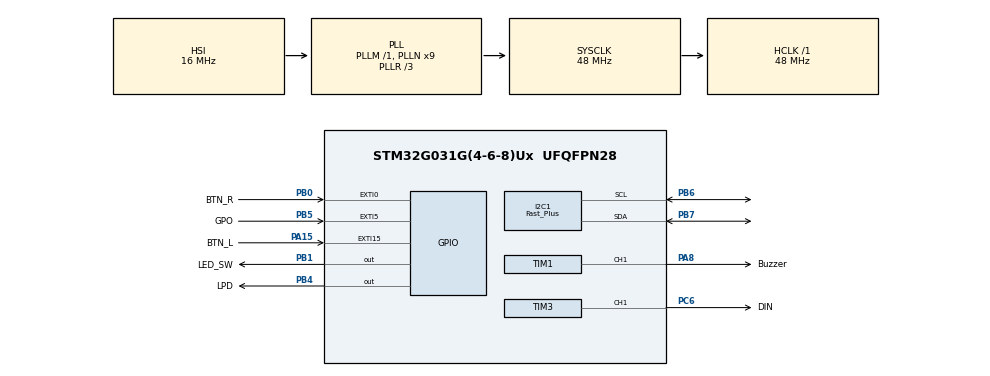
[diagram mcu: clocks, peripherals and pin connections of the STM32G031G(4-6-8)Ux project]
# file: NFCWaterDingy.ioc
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Dma.Request0=TIM3_CH1
Dma.TIM3_CH1.0.Direction=DMA_MEMORY_TO_PERIPH
Dma.TIM3_CH1.0.EventEnable=DISABLE
Dma.TIM3_CH1.0.Instance=DMA1_Channel1
Dma.TIM3_CH1.0.MemDataAlignment=DMA_MDATAALIGN_HALFWORD
Dma.TIM3_CH1.0.MemInc=DMA_MINC_ENABLE
Dma.TIM3_CH1.0.Mode=DMA_NORMAL
Dma.TIM3_CH1.0.PeriphDataAlignment=DMA_PDATAALIGN_HALFWORD
Dma.TIM3_CH1.0.PeriphInc=DMA_PINC_DISABLE
Dma.TIM3_CH1.0.Polarity=HAL_DMAMUX_REQ_GEN_RISING
Dma.TIM3_CH1.0.Priority=DMA_PRIORITY_LOW
Dma.TIM3_CH1.0.RequestNumber=1
Dma.TIM3_CH1.0.SignalID=NONE
Dma.TIM3_CH1.0.SyncEnable=DISABLE
Dma.TIM3_CH1.0.SyncPolarity=HAL_DMAMUX_SYNC_NO_EVENT
Dma.TIM3_CH1.0.SyncRequestNumber=1
Dma.TIM3_CH1.0.SyncSignalID=NONE
I2C1.I2C_Speed_Mode=I2C_Fast_Plus
I2C1.Timing=0x00700814
Mcu.Family=STM32G0
Mcu.Name=STM32G031G(4-6-8)Ux
Mcu.Package=UFQFPN28
NVIC.DMA1_Channel1_IRQn=true\:0\:0\:false\:false\:true\:false\:true\:false
NVIC.EXTI0_1_IRQn=true\:0\:0\:true\:true\:true\:1\:true\:true\:true
NVIC.EXTI4_15_IRQn=true\:0\:0\:true\:true\:true\:2\:true\:true\:true
NVIC.RTC_TAMP_IRQn=true\:0\:0\:true\:true\:true\:3\:true\:true\:true
NVIC.TIM1_BRK_UP_TRG_COM_IRQn=true\:0\:0\:false\:false\:true\:true\:true\:true
NVIC.TIM1_CC_IRQn=true\:0\:0\:false\:false\:true\:true\:true\:true
NVIC.TIM3_IRQn=true\:0\:0\:false\:false\:true\:true\:true\:true
PA13.Mode=Serial_Wire
PA13.Signal=SYS_SWDIO
PA14-BOOT0.Mode=Serial_Wire
PA14-BOOT0.Signal=SYS_SWCLK
PA15.GPIO_Label=BTN_L
PA15.GPIO_ModeDefaultEXTI=GPIO_MODE_IT_RISING
PA15.GPIO_PuPd=GPIO_NOPULL
PA15.Signal=GPXTI15
PA8.GPIO_Label=Buzzer
PA8.Signal=S_TIM1_CH1
PB0.GPIO_Label=BTN_R
PB0.GPIO_ModeDefaultEXTI=GPIO_MODE_IT_RISING
PB0.GPIO_PuPd=GPIO_NOPULL
PB0.Signal=GPXTI0
PB1.GPIO_Label=LED_SW
PB1.GPIO_PuPd=GPIO_PULLUP
PB1.GPIO_Speed=GPIO_SPEED_FREQ_HIGH
PB1.Signal=GPIO_Output
PB4.GPIO_Label=LPD
PB4.GPIO_PuPd=GPIO_NOPULL
PB4.Signal=GPIO_Output
PB5.GPIO_Label=GPO
PB5.GPIO_ModeDefaultEXTI=GPIO_MODE_IT_FALLING
PB5.GPIO_PuPd=GPIO_PULLUP
PB5.Signal=GPXTI5
PB6.GPIO_Pu=GPIO_NOPULL
PB6.Mode=I2C
PB6.Signal=I2C1_SCL
PB7.GPIO_Pu=GPIO_NOPULL
PB7.Mode=I2C
PB7.Signal=I2C1_SDA
PC14-OSC32_IN\ (PC14).Mode=LSE-External-Oscillator
PC14-OSC32_IN\ (PC14).Signal=RCC_OSC32_IN
PC15-OSC32_OUT\ (PC15).Mode=LSE-External-Oscillator
PC15-OSC32_OUT\ (PC15).Signal=RCC_OSC32_OUT
PC6.GPIO_Label=DIN
PC6.Signal=S_TIM3_CH1
ProjectManager.HeapSize=0x200
ProjectManager.StackSize=0x400
ProjectManager.TargetToolchain=STM32CubeIDE
RCC.ADCFreq_Value=48000000
RCC.AHBFreq_Value=48000000
RCC.CodegenConfigPeriph=true
RCC.CortexFreq_Value=48000000
RCC.DATA_CACHE_ENABLE=1
RCC.EXTERNAL_CLOCK_VALUE=12288000
RCC.FLatency=FLASH_LATENCY_1
RCC.HCLKFreq_Value=48000000
RCC.HSE_Timout=1000
RCC.HSE_VALUE=8000000
RCC.HSI_VALUE=16000000
RCC.INSTRUCTION_CACHE_ENABLE=1
RCC.LSE_Timout=5000
RCC.PLLN=9
RCC.PLLQ=RCC_PLLQ_DIV5
RCC.PLLR=RCC_PLLR_DIV3
RCC.PREFETCH_ENABLE=1
RCC.RTCClockSelection=RCC_RTCCLKSOURCE_LSE
RCC.SYSCLKFreq_VALUE=48000000
RCC.SYSCLKSource=RCC_SYSCLKSOURCE_PLLCLK
RCC.VCOOutputFreq_Value=144000000
RCC.VDD_VALUE=2.9
RTC.Alarm-Alarm\ A=RTC_ALARM_A
RTC.AlarmMaskDateWeekDay-Alarm\ A=RTC_ALARMMASK_DATEWEEKDAY
RTC.AlarmMaskDateWeekDay_B-Alarm\ B=RTC_ALARMMASK_DATEWEEKDAY
RTC.Alarm_B-Alarm\ B=RTC_ALARM_B
RTC.Format=RTC_FORMAT_BIN
RTC.Hours_A-Alarm\ A=10
RTC.Hours_B-Alarm\ B=22
RTC.Seconds_A-Alarm\ A=1
RTC.Seconds_B-Alarm\ B=1
RTC.WakeUpClock-WakeUp=RTC_WAKEUPCLOCK_CK_SPRE_16BITS
SH.S_TIM1_CH1.0=TIM1_CH1,PWM Generation1 CH1
SH.S_TIM3_CH1.0=TIM3_CH1,PWM Generation1 CH1
TIM1.Channel-PWM\ Generation1\ CH1=TIM_CHANNEL_1
TIM1.Period=23999
TIM1.Prescaler=0
TIM3.Channel-PWM\ Generation1\ CH1=TIM_CHANNEL_1
TIM3.Period=59
VP_RTC_VS_RTC_Activate.Mode=RTC_Enabled
VP_RTC_VS_RTC_Alarm_A_Intern.Mode=Alarm A
VP_RTC_VS_RTC_Alarm_B_Intern.Mode=Alarm B
VP_RTC_VS_RTC_Calendar.Mode=RTC_Calendar
VP_RTC_VS_RTC_WakeUp_intern.Mode=WakeUp
VP_TIM1_VS_ClockSourceINT.Mode=Internal
VP_TIM3_VS_ClockSourceINT.Mode=Internal
board=custom

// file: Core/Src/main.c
/* USER CODE BEGIN Header */
/**
 ******************************************************************************
 * @file           : main.c
 * @brief          : Main program body
 ******************************************************************************
 * @attention
 *
 * Copyright (c) 2025 STMicroelectronics.
 * All rights reserved.
 *
 * This software is licensed under terms that can be found in the LICENSE file
 * in the root directory of this software component.
 * If no LICENSE file comes with this software, it is provided AS-IS.
 *
 ******************************************************************************
 */
/* USER CODE END Header */
#include "main.h"
#include "dma.h"
#include "i2c.h"
#include "rtc.h"
#include "tim.h"
#include "gpio.h"

/* USER CODE BEGIN Includes */
#include <string.h>
#include <stdio.h>
#include "WS2812.h"
#include "st25dv.h"
/* USER CODE END Includes */

/* USER CODE BEGIN PV */
extern I2C_HandleTypeDef hi2c1;
#define FLASH_STORAGE_BASE_ADDR 0x0800FF00  // Zadnja stranica
#define FLASH_STORAGE_MAGIC 0xCA5A0001      // Magic broj za provjeru valjanosti

typedef struct {
	uint32_t magic;
	uint16_t casa_vode;
	uint16_t crc;
} flash_storage_t;

volatile uint16_t casa_vode = 0;  // brojač čaša
uint8_t gpo_prev = 1;             // prethodno stanje GPO pina
uint8_t btn_prev = 1;             // prethodno stanje gumba
uint8_t gpo_state_immediate = 1;

uint8_t target_leds = 4;       // Default: 4 LED = 1L (1-8 = 0.25-2L)
uint8_t interval_leds = 4;     // Default: 4 LED = 1h (1-8 = 15min-2h)
uint8_t daily_alarm_count = 0; // Broj alarma koji su se oglasili danas
uint8_t max_daily_alarms = 0; // Maksimalni broj alarma (izračun iz target_leds)
uint8_t morning_reset_hour = 10; // U koliko sati se resetira daily count (default 10h)
volatile uint8_t rtc_wakeup_flag = 0;  // Flag za RTC wake-up

uint8_t current_hour = 12;    // Default: 12 sati (podne)
uint8_t sleep_start_hour = 22; // Default: 22h - 6h = noćni period (8h spavanja)
uint8_t sleep_end_hour = 6;    // Default: 6h ujutro

// EXTERN FUNKCIJE IZ rtc.c
extern void set_wakeup_timer_minutes(uint32_t minutes);
extern void set_wakeup_timer_seconds(uint32_t seconds);
extern void stop_wakeup_timer(void);
extern uint8_t get_current_hour(void);
extern uint8_t is_day_time(void);
extern uint8_t get_current_minute(void);
/* USER CODE END PV */

void SystemClock_Config(void);
static void MX_NVIC_Init(void);
/* USER CODE BEGIN PFP */

HAL_StatusTypeDef flash_read_storage(uint16_t *casa_value);
HAL_StatusTypeDef flash_erase_page(void);
HAL_StatusTypeDef flash_write_storage(uint16_t casa_value);
void save_casa_to_flash(void);
void send_casa_to_nfc(void);
void reset_casa_counter(void);

void setup_litara_mode(void);
void setup_interval_mode(void);
void show_setup_confirmation(void);

/* USER CODE END PFP */

/* USER CODE BEGIN 0 */

uint16_t calculate_crc(uint16_t data) {
	return ~data;
}

// Čita podatke iz Flash memorije
HAL_StatusTypeDef flash_read_storage(uint16_t *casa_value) {
	flash_storage_t *storage = (flash_storage_t*) FLASH_STORAGE_BASE_ADDR;

	// Provjeri magic broj
	if (storage->magic != FLASH_STORAGE_MAGIC) {
		return HAL_ERROR;
	}

	// Provjeri CRC
	if (storage->crc != calculate_crc(storage->casa_vode)) {
		return HAL_ERROR;
	}

	*casa_value = storage->casa_vode;
	return HAL_OK;
}

// Briše Flash stranicu prije pisanja
HAL_StatusTypeDef flash_erase_page(void) {
	HAL_StatusTypeDef status;

	HAL_FLASH_Unlock();

	FLASH_EraseInitTypeDef erase;
	erase.TypeErase = FLASH_TYPEERASE_PAGES;
	erase.Page = (FLASH_STORAGE_BASE_ADDR - FLASH_BASE) / FLASH_PAGE_SIZE;
	erase.NbPages = 1;

	uint32_t page_error;
	status = HAL_FLASHEx_Erase(&erase, &page_error);

	HAL_FLASH_Lock();

	return status;
}

// Piše podatke u Flash memoriju
HAL_StatusTypeDef flash_write_storage(uint16_t casa_value) {
	HAL_StatusTypeDef status;
	flash_storage_t storage;

	// Pripremi podatke
	storage.magic = FLASH_STORAGE_MAGIC;
	storage.casa_vode = casa_value;
	storage.crc = calculate_crc(casa_value);

	// Prvo obriši stranicu
	status = flash_erase_page();
	if (status != HAL_OK) {
		return status;
	}

	HAL_FLASH_Unlock();

	// Zapiši podatke - STM32G0 koristi double-word programming
	uint64_t *src = (uint64_t*) &storage;
	uint64_t *dst = (uint64_t*) FLASH_STORAGE_BASE_ADDR;

	for (int i = 0; i < sizeof(flash_storage_t) / 8; i++) {
		status = HAL_FLASH_Program(FLASH_TYPEPROGRAM_DOUBLEWORD, (uint32_t) dst,
				*src);
		if (status != HAL_OK) {
			break;
		}
		dst++;
		src++;
	}

	HAL_FLASH_Lock();
	return status;
}

// Funkcija za spremanje kada se broj čaša promijeni
void save_casa_to_flash(void) {
	if (flash_write_storage(casa_vode) == HAL_OK) {
		// Uspješno spremljeno
	}
}

// Funkcija za slanje broja čaša na NFC tag (koristi biblioteku)
void send_casa_to_nfc(void) {
	ST25DV_SendCasaCount(casa_vode);  // ← BIBLIOTEKA
}

// Funkcija za reset brojača na 0
void reset_casa_counter(void) {
	casa_vode = 0;

	// Resetiraj Flash memoriju
	if (flash_write_storage(0) == HAL_OK) {
		// Flash uspješno resetiran
	}

	// Resetiraj NFC tag koristeći biblioteku
	char reset_buffer[32];
	snprintf(reset_buffer, sizeof(reset_buffer), "0 čaša vode");
	ST25DV_WriteNDEFText(reset_buffer);
}

void setup_litara_mode(void) {
	uint8_t confirmed = 0;
	uint32_t last_action_time = HAL_GetTick();

	for (int i = 0; i < NUM_LEDS; i++) {
		WS2812_SetLED(i, 0, 0, 0);
	}
	WS2812_Render();

	// Osvijetli prvih target_leds LEDica počevši od LED 2 (kružno)
	for (int i = 0; i < target_leds; i++) {
		int led = (i + 2) % NUM_LEDS;
		WS2812_SetLED(led, 0, 30, 50);
	}
	WS2812_Render();

	__HAL_TIM_SET_COMPARE(&htim1, TIM_CHANNEL_1, 18382 / 128);
	HAL_Delay(100);
	__HAL_TIM_SET_COMPARE(&htim1, TIM_CHANNEL_1, 0);

	while (!confirmed) {
		// Timeout nakon 30 sekundi - automatski potvrdi
		if ((HAL_GetTick() - last_action_time) > 30000) {
			confirmed = 1;
			break;
		}

		// Provjeri L gumb (povećaj)
		if (HAL_GPIO_ReadPin(BTN_L_GPIO_Port, BTN_L_Pin) == GPIO_PIN_SET) {
			HAL_Delay(50); // Debounce
			if (HAL_GPIO_ReadPin(BTN_L_GPIO_Port, BTN_L_Pin) == GPIO_PIN_SET) {
				last_action_time = HAL_GetTick();

				// Povećaj broj LEDica (ciklički 1-8)
				target_leds++;
				if (target_leds > 8) {
					target_leds = 1;
				}

				for (int i = 0; i < NUM_LEDS; i++) {
					WS2812_SetLED(i, 0, 0, 0);
				}

				for (int i = 0; i < target_leds; i++) {
					int led = (i + 2) % NUM_LEDS;  //  POČINJE OD LED 2
					WS2812_SetLED(led, 0, 30, 50);
				}
				WS2812_Render();

				__HAL_TIM_SET_COMPARE(&htim1, TIM_CHANNEL_1, 21818 / 128);
				HAL_Delay(50);
				__HAL_TIM_SET_COMPARE(&htim1, TIM_CHANNEL_1, 0);

				while (HAL_GPIO_ReadPin(BTN_L_GPIO_Port, BTN_L_Pin)
						== GPIO_PIN_SET) {
					HAL_Delay(10);
				}
			}
		}

		// Provjeri R gumb za potvrdu
		if (HAL_GPIO_ReadPin(BTN_R_GPIO_Port, BTN_R_Pin) == GPIO_PIN_SET) {
			HAL_Delay(50);
			if (HAL_GPIO_ReadPin(BTN_R_GPIO_Port, BTN_R_Pin) == GPIO_PIN_SET) {
				confirmed = 1;

				// Potvrdni zvuk
				__HAL_TIM_SET_COMPARE(&htim1, TIM_CHANNEL_1, 18382 / 128);
				HAL_Delay(150);
				__HAL_TIM_SET_COMPARE(&htim1, TIM_CHANNEL_1, 0);

				// Čekaj otpuštanje
				while (HAL_GPIO_ReadPin(BTN_R_GPIO_Port, BTN_R_Pin)
						== GPIO_PIN_SET) {
					HAL_Delay(10);
				}
			}
		}

		HAL_Delay(10);
	}
	max_daily_alarms = target_leds;
	daily_alarm_count = 0;
}

void setup_interval_mode(void) {
	uint8_t confirmed = 0;
	uint32_t last_action_time = HAL_GetTick();

	// PRVO POKAŽI DEFAULT (4 LED = 1h) - POČINJE OD LED 2
	for (int i = 0; i < NUM_LEDS; i++) {
		WS2812_SetLED(i, 0, 0, 0);
	}
	WS2812_Render();

	for (int i = 0; i < interval_leds; i++) {
		int led = (i + 2) % NUM_LEDS;
		WS2812_SetLED(led, 50, 0, 0);
	}
	WS2812_Render();

	__HAL_TIM_SET_COMPARE(&htim1, TIM_CHANNEL_1, 18382 / 128);
	HAL_Delay(100);
	__HAL_TIM_SET_COMPARE(&htim1, TIM_CHANNEL_1, 0);

	while (!confirmed) {
		// Timeout nakon 30 sekundi
		if ((HAL_GetTick() - last_action_time) > 30000) {
			confirmed = 1;
			break;
		}

		// Provjeri L gumb (povećaj)
		if (HAL_GPIO_ReadPin(BTN_L_GPIO_Port, BTN_L_Pin) == GPIO_PIN_SET) {
			HAL_Delay(50);
			if (HAL_GPIO_ReadPin(BTN_L_GPIO_Port, BTN_L_Pin) == GPIO_PIN_SET) {
				last_action_time = HAL_GetTick();

				interval_leds++;
				if (interval_leds > 8) {
					interval_leds = 1;
				}

				for (int i = 0; i < NUM_LEDS; i++) {
					WS2812_SetLED(i, 0, 0, 0);
				}

				for (int i = 0; i < interval_leds; i++) {
					int led = (i + 2) % NUM_LEDS;
					WS2812_SetLED(led, 50, 0, 0);
				}
				WS2812_Render();

				__HAL_TIM_SET_COMPARE(&htim1, TIM_CHANNEL_1, 21818 / 128);
				HAL_Delay(50);
				__HAL_TIM_SET_COMPARE(&htim1, TIM_CHANNEL_1, 0);

				while (HAL_GPIO_ReadPin(BTN_L_GPIO_Port, BTN_L_Pin)
						== GPIO_PIN_SET) {
					HAL_Delay(10);
				}
			}
		}

		// Provjeri R gumb za potvrdu
		if (HAL_GPIO_ReadPin(BTN_R_GPIO_Port, BTN_R_Pin) == GPIO_PIN_SET) {
			HAL_Delay(50);
			if (HAL_GPIO_ReadPin(BTN_R_GPIO_Port, BTN_R_Pin) == GPIO_PIN_SET) {
				confirmed = 1;

				// Potvrdni zvuk
				__HAL_TIM_SET_COMPARE(&htim1, TIM_CHANNEL_1, 18382 / 128);
				HAL_Delay(150);
				__HAL_TIM_SET_COMPARE(&htim1, TIM_CHANNEL_1, 0);

				while (HAL_GPIO_ReadPin(BTN_R_GPIO_Port, BTN_R_Pin)
						== GPIO_PIN_SET) {
					HAL_Delay(10);
				}
			}
		}

		HAL_Delay(10);
	}
}

// Postavi trenutno vrijeme u RTC - BINARNO
void setup_current_time_mode(void) {
	uint8_t confirmed = 0;
	uint32_t last_action_time = HAL_GetTick();

	// Prikaži trenutni sat (default 12h)
	for (int i = 0; i < NUM_LEDS; i++) {
		WS2812_SetLED(i, 0, 0, 0);
	}
	WS2812_Render();

	for (int hour = 0; hour <= current_hour; hour++) {
		int led = (hour + 2) % NUM_LEDS;
		if (hour <= 7) {
			WS2812_SetLED(led, 50, 0, 0);
		} else if (hour <= 15) {
			WS2812_SetLED(led, 0, 30, 0);
		} else {
			WS2812_SetLED(led, 0, 0, 30);
		}
	}
	WS2812_Render();

	__HAL_TIM_SET_COMPARE(&htim1, TIM_CHANNEL_1, 18382 / 128);
	HAL_Delay(100);
	__HAL_TIM_SET_COMPARE(&htim1, TIM_CHANNEL_1, 0);

	while (!confirmed) {
		if ((HAL_GetTick() - last_action_time) > 30000) {
			confirmed = 1;
			break;
		}

		if (HAL_GPIO_ReadPin(BTN_L_GPIO_Port, BTN_L_Pin) == GPIO_PIN_SET) {
			HAL_Delay(50);
			if (HAL_GPIO_ReadPin(BTN_L_GPIO_Port, BTN_L_Pin) == GPIO_PIN_SET) {
				last_action_time = HAL_GetTick();

				current_hour++;
				if (current_hour > 23)
					current_hour = 0;

				// OSVJEŽI PRIKAZ
				for (int i = 0; i < NUM_LEDS; i++) {
					WS2812_SetLED(i, 0, 0, 0);
				}

				for (int hour = 0; hour <= current_hour; hour++) {
					int led = (hour + 2) % NUM_LEDS;
					if (hour <= 7) {
						WS2812_SetLED(led, 50, 0, 0);
					} else if (hour <= 15) {
						WS2812_SetLED(led, 0, 30, 0);
					} else {
						WS2812_SetLED(led, 0, 0, 30);
					}
				}
				WS2812_Render();

				uint32_t note = 18382 + (current_hour * 100);
				if (note > 32876)
					note = 32876;
				__HAL_TIM_SET_COMPARE(&htim1, TIM_CHANNEL_1, note / 128);
				HAL_Delay(50);
				__HAL_TIM_SET_COMPARE(&htim1, TIM_CHANNEL_1, 0);

				while (HAL_GPIO_ReadPin(BTN_L_GPIO_Port, BTN_L_Pin)
						== GPIO_PIN_SET) {
					HAL_Delay(10);
				}
			}
		}

		if (HAL_GPIO_ReadPin(BTN_R_GPIO_Port, BTN_R_Pin) == GPIO_PIN_SET) {
			HAL_Delay(50);
			if (HAL_GPIO_ReadPin(BTN_R_GPIO_Port, BTN_R_Pin) == GPIO_PIN_SET) {
				confirmed = 1;

				// POSTAVLJANJE RTC VREMENA (SATI, 00 MINUTA, 00 SEKUNDI)
				RTC_TimeTypeDef sTime = { 0 };
				RTC_DateTypeDef sDate = { 0 };

				sTime.Hours = current_hour;  // Binarno 0-23
				sTime.Minutes = 0;           // 00 minuta
				sTime.Seconds = 0;           // 00 sekundi
				sTime.SubSeconds = 0;
				sTime.DayLightSaving = RTC_DAYLIGHTSAVING_NONE;
				sTime.StoreOperation = RTC_STOREOPERATION_RESET;

				sDate.WeekDay = RTC_WEEKDAY_MONDAY;
				sDate.Month = RTC_MONTH_JANUARY;
				sDate.Date = 1;
				sDate.Year = 0;

				if (HAL_RTC_SetDate(&hrtc, &sDate, RTC_FORMAT_BIN) != HAL_OK) {
					Error_Handler();
				}
				if (HAL_RTC_SetTime(&hrtc, &sTime, RTC_FORMAT_BIN) != HAL_OK) {
					Error_Handler();
				}

				// Potvrdni zvuk
				for (int i = 0; i < 3; i++) {
					__HAL_TIM_SET_COMPARE(&htim1, TIM_CHANNEL_1, 18382 / 128);
					HAL_Delay(50);
					__HAL_TIM_SET_COMPARE(&htim1, TIM_CHANNEL_1, 0);
					if (i < 2)
						HAL_Delay(30);
				}

				// Kratko blinkanje
				if (current_hour <= 7) {
					WS2812_SetAll(50, 0, 0);
				} else if (current_hour <= 15) {
					WS2812_SetAll(0, 30, 0);
				} else {
					WS2812_SetAll(0, 0, 30);
				}
				WS2812_Render();
				HAL_Delay(300);
				WS2812_SetAll(0, 0, 0);
				WS2812_Render();

				while (HAL_GPIO_ReadPin(BTN_R_GPIO_Port, BTN_R_Pin)
						== GPIO_PIN_SET) {
					HAL_Delay(10);
				}
			}
		}

		HAL_Delay(10);
	}
}

void show_setup_confirmation(void) {
	// Brzo pali i gasi sve LEDice 2 puta
	for (int blink = 0; blink < 2; blink++) {
		WS2812_SetAll(20, 20, 20);  // BIJELA
		WS2812_Render();
		__HAL_TIM_SET_COMPARE(&htim1, TIM_CHANNEL_1, 18382 / 128);
		HAL_Delay(150);

		WS2812_SetAll(0, 0, 0);
		WS2812_Render();
		__HAL_TIM_SET_COMPARE(&htim1, TIM_CHANNEL_1, 0);
		HAL_Delay(150);
	}
}

/* USER CODE END 0 */

int main(void) {

	/* MCU Configuration--------------------------------------------------------*/

	/* Reset of all peripherals, Initializes the Flash interface and the Systick. */
	HAL_Init();

	/* Configure the system clock */
	SystemClock_Config();

	/* Initialize all configured peripherals */
	MX_GPIO_Init();
	MX_DMA_Init();
	MX_TIM1_Init();
	MX_I2C1_Init();
	MX_TIM3_Init();
	MX_RTC_Init();

	/* Initialize interrupts */
	MX_NVIC_Init();
	/* USER CODE BEGIN 2 */
	HAL_TIM_PWM_Start(&htim1, TIM_CHANNEL_1);
	HAL_GPIO_WritePin(LED_SW_GPIO_Port, LED_SW_Pin, GPIO_PIN_RESET);
	HAL_GPIO_WritePin(LPD_GPIO_Port, LPD_Pin, GPIO_PIN_RESET);
	HAL_Delay(250);
	WS2812_Init();

	if (ST25DV_Init(&hi2c1) != HAL_OK) {
		WS2812_SetAll(50, 0, 0);
		WS2812_Render();
		__HAL_TIM_SET_COMPARE(&htim1, TIM_CHANNEL_1, 18382 / 128);
		HAL_Delay(100);
		WS2812_SetAll(0, 0, 0);
		WS2812_Render();
		__HAL_TIM_SET_COMPARE(&htim1, TIM_CHANNEL_1, 0);
		HAL_Delay(1000);
	}

	HAL_Delay(10); // Mali delay za stabilnost GPIO

	if (HAL_GPIO_ReadPin(BTN_L_GPIO_Port, BTN_L_Pin) == GPIO_PIN_SET) {
		// Gumb je pritisnut pri pokretanju - čekaj 3 sekunde
		uint32_t reset_start_time = HAL_GetTick();

		while ((HAL_GetTick() - reset_start_time) < 3000) {
			// Ako se gumb otpusti prije 3 sekunde, prekini reset
			if (HAL_GPIO_ReadPin(BTN_L_GPIO_Port, BTN_L_Pin)
					== GPIO_PIN_RESET) {
				break;
			}
			HAL_Delay(100);
		}

		// Provjeri je li gumb i dalje pritisnut nakon 3 sekunde
		if (HAL_GPIO_ReadPin(BTN_L_GPIO_Port, BTN_L_Pin) == GPIO_PIN_SET) {
			// RESETIRAJ NA 0!
			reset_casa_counter();
			while (HAL_GPIO_ReadPin(BTN_L_GPIO_Port, BTN_L_Pin) == GPIO_PIN_SET) {
				HAL_Delay(10); // Čekaj dok se gumb ne otpusti
			}
			WS2812_SetAll(0, 50, 0);
			WS2812_Render();
			__HAL_TIM_SET_COMPARE(&htim1, TIM_CHANNEL_1, 32876 / 128);
			HAL_Delay(100);
			WS2812_SetAll(0, 0, 0);
			WS2812_Render();
			__HAL_TIM_SET_COMPARE(&htim1, TIM_CHANNEL_1, 0);
			HAL_Delay(1000);
		}
	} else {
		uint16_t saved_casa = 0;
		if (flash_read_storage(&saved_casa) == HAL_OK) {
			casa_vode = saved_casa;
		} else {
			casa_vode = 0;
		}
	}

	// Inicijaliziranje NFCa sa trenutnom vrijednošću KORISTEĆI BIBLIOTEKU
	char init_buffer[32];
	snprintf(init_buffer, sizeof(init_buffer), "%u čaša vode", casa_vode);
	if (ST25DV_WriteNDEFText(init_buffer) != HAL_OK) {
	}

	setup_litara_mode();

	// Faza 2: Odabir intervala
	setup_interval_mode();

	//  FAZA 3: Postavljanje trenutnog vremena (sati)
	setup_current_time_mode();

	// Potvrda setupa
	show_setup_confirmation();

	uint8_t current_hour_now = get_current_hour();

	// Postavi početno stanje - alarmi su već aktivirani u RTC inicijalizaciji!
	if (current_hour_now >= 10 && current_hour_now <= 22) {
		// DAN
		daily_alarm_count = 0;  // Reset za dan

		// Pokreni intervale za 5 sekundi
		if (daily_alarm_count <= target_leds) {
			set_wakeup_timer_seconds(5);
		}
	} else {
		// NOĆ
		daily_alarm_count = 0;  // Reset za noć
		// alarm B će se automatski aktivirati u 22:00
	}

	// Mali delay prije ulaska u sleep
	HAL_Delay(500);

	/* USER CODE END 2 */

	/* Infinite loop */
	/* USER CODE BEGIN WHILE */
	while (1) {
		// Spavanje
		HAL_TIM_PWM_Stop(&htim1, TIM_CHANNEL_1);
		HAL_GPIO_WritePin(LED_SW_GPIO_Port, LED_SW_Pin, GPIO_PIN_SET);
		HAL_GPIO_WritePin(LPD_GPIO_Port, LPD_Pin, GPIO_PIN_SET);
		HAL_Delay(100);
		HAL_SuspendTick();
		HAL_PWR_EnterSTOPMode(PWR_LOWPOWERREGULATOR_ON, PWR_STOPENTRY_WFI);

		//  BUĐENJE

		// Provjera GPIO stanje ODMAH nakon budenja
		gpo_state_immediate = HAL_GPIO_ReadPin(GPO_GPIO_Port, GPO_Pin);
		uint8_t BTNL_state_immediate = HAL_GPIO_ReadPin(BTN_L_GPIO_Port,
		BTN_L_Pin);
		uint8_t BTNR_state_immediate = HAL_GPIO_ReadPin(BTN_R_GPIO_Port,
		BTN_R_Pin);

		SystemClock_Config();
		HAL_ResumeTick();

		if (rtc_wakeup_flag) {
			uint8_t waiting_for_btnR = 0;
			uint8_t btnL_was_pressed = 0;
			uint32_t btnL_press_time = 0;
			uint32_t orange_fade_start = 0;
			uint8_t orange_fade_active = 0;
			uint8_t alarm_paused = 0;
			uint8_t snooze_active = 0;

			// Paljenje LED driver a
			HAL_GPIO_WritePin(LED_SW_GPIO_Port, LED_SW_Pin, GPIO_PIN_RESET);

			// Petlja za alarm
			while (1) {
				uint32_t current_time = HAL_GetTick();

				//  SAMO AKO ALARM NIJE PAUZIRAN
				if (!alarm_paused && !orange_fade_active && !waiting_for_btnR
						&& !snooze_active) {
					HAL_TIM_PWM_Start(&htim1, TIM_CHANNEL_1);
					__HAL_TIM_SET_COMPARE(&htim1, TIM_CHANNEL_1, 32876 / 64);
					WS2812_SetAll(255, 0, 0);
					WS2812_Render();
					HAL_Delay(100);

					__HAL_TIM_SET_COMPARE(&htim1, TIM_CHANNEL_1, 0);
					WS2812_SetAll(0, 0, 0);
					WS2812_Render();

					set_wakeup_timer_seconds(4);
					HAL_TIM_PWM_Stop(&htim1, TIM_CHANNEL_1);
					HAL_GPIO_WritePin(LED_SW_GPIO_Port, LED_SW_Pin,
							GPIO_PIN_SET);
					HAL_GPIO_WritePin(LPD_GPIO_Port, LPD_Pin, GPIO_PIN_SET);
					HAL_Delay(100);
					HAL_SuspendTick();
					HAL_PWR_EnterSTOPMode(PWR_LOWPOWERREGULATOR_ON,
					PWR_STOPENTRY_WFI);

					SystemClock_Config();
					HAL_ResumeTick();
					HAL_RTCEx_DeactivateWakeUpTimer(&hrtc);
					HAL_GPIO_WritePin(LED_SW_GPIO_Port, LED_SW_Pin,
							GPIO_PIN_RESET);
					HAL_GPIO_WritePin(LPD_GPIO_Port, LPD_Pin, GPIO_PIN_RESET);
				}
				alarm_paused = 0;
				//  ANIMACIJA NARANČASTOG FADE-OUT-a
				if (orange_fade_active) {
					alarm_paused = 1;  //
					uint32_t fade_elapsed = current_time - orange_fade_start;

					if (fade_elapsed < 1000) {
						uint8_t red = 50;
						uint8_t green = 25 - (fade_elapsed * 25 / 1000);
						WS2812_SetAll(red, green, 0);
						WS2812_Render();
					} else {
						orange_fade_active = 0;
						alarm_paused = 0;
						WS2812_SetAll(0, 0, 0);
						WS2812_Render();
					}
				}

				//  PROVJERA L GUMBA
				if (HAL_GPIO_ReadPin(BTN_L_GPIO_Port, BTN_L_Pin)
						== GPIO_PIN_SET) {
					static uint32_t last_btnL_alarm_time = 0;
					if ((current_time - last_btnL_alarm_time) > 50) {
						alarm_paused = 1;
						btnL_press_time = current_time;
						waiting_for_btnR = 1;
						btnL_was_pressed = 1;
						orange_fade_active = 1;
						orange_fade_start = current_time;
						last_btnL_alarm_time = current_time;

						__HAL_TIM_SET_COMPARE(&htim1, TIM_CHANNEL_1, 0);
						WS2812_SetAll(50, 25, 0);
						WS2812_Render();
						__HAL_TIM_SET_COMPARE(&htim1, TIM_CHANNEL_1,
								21818 / 128);
						HAL_Delay(80);
						__HAL_TIM_SET_COMPARE(&htim1, TIM_CHANNEL_1, 0);
					}
				}

				//  PROVJERA TIMEOUTA ZA L+R
				if (waiting_for_btnR
						&& (current_time - btnL_press_time > 1000)) {
					waiting_for_btnR = 0;
					btnL_was_pressed = 0;
					orange_fade_active = 0;
					alarm_paused = 0;

					for (int blink = 0; blink < 2; blink++) {
						HAL_TIM_PWM_Start(&htim1, TIM_CHANNEL_1);
						WS2812_SetAll(50, 0, 0);
						WS2812_Render();
						__HAL_TIM_SET_COMPARE(&htim1, TIM_CHANNEL_1,
								21818 / 128);
						HAL_Delay(100);
						WS2812_SetAll(0, 0, 0);
						WS2812_Render();
						__HAL_TIM_SET_COMPARE(&htim1, TIM_CHANNEL_1, 0);
						if (blink < 1)
							HAL_Delay(50);
					}
					HAL_Delay(1000);
				}

				// PROVJERA R GUMBA AKO JE L BIO PRITISNUT
				if (waiting_for_btnR
						&& HAL_GPIO_ReadPin(BTN_R_GPIO_Port, BTN_R_Pin)
								== GPIO_PIN_SET) {
					static uint32_t last_btnR_alarm_time = 0;
					if ((current_time - last_btnR_alarm_time) > 50) {
						last_btnR_alarm_time = current_time;
						HAL_TIM_PWM_Start(&htim1, TIM_CHANNEL_1);
						__HAL_TIM_SET_COMPARE(&htim1, TIM_CHANNEL_1, 0);
						WS2812_SetAll(0, 0, 0);
						WS2812_Render();

						for (int blink = 0; blink < 2; blink++) {
							WS2812_SetAll(0, 50, 0);
							WS2812_Render();
							__HAL_TIM_SET_COMPARE(&htim1, TIM_CHANNEL_1,
									18382 / 128);
							HAL_Delay(100);
							WS2812_SetAll(0, 0, 0);
							WS2812_Render();
							__HAL_TIM_SET_COMPARE(&htim1, TIM_CHANNEL_1, 0);
							if (blink < 1)
								HAL_Delay(50);
						}

						while (HAL_GPIO_ReadPin(BTN_R_GPIO_Port, BTN_R_Pin)
								== GPIO_PIN_SET) {
							HAL_Delay(10);
						}

						static uint16_t last_saved_value = 0;
						casa_vode++;

						if (is_day_time()) {
							daily_alarm_count++;
							if (daily_alarm_count >= target_leds) {
								stop_wakeup_timer();
							} else if (daily_alarm_count <= target_leds) {
								set_wakeup_timer_minutes(interval_leds * 15);
							}
						}

						if (casa_vode != last_saved_value) {
							save_casa_to_flash();
							last_saved_value = casa_vode;
						}

						rtc_wakeup_flag = 0;
						break;
					}
				}

				//  PROVJERA SAMO R GUMBA ZA SNOOZE
				if (!btnL_was_pressed
						&& HAL_GPIO_ReadPin(BTN_R_GPIO_Port, BTN_R_Pin)
								== GPIO_PIN_SET) {
					static uint32_t last_btnR_solo_time = 0;
					if ((current_time - last_btnR_solo_time) > 50) {
						last_btnR_solo_time = current_time;

						snooze_active = 1;
						alarm_paused = 1;
						HAL_TIM_PWM_Start(&htim1, TIM_CHANNEL_1);
						__HAL_TIM_SET_COMPARE(&htim1, TIM_CHANNEL_1, 0);
						WS2812_SetAll(0, 0, 0);
						WS2812_Render();

						WS2812_SetAll(50, 0, 20);
						WS2812_Render();
						__HAL_TIM_SET_COMPARE(&htim1, TIM_CHANNEL_1,
								24489 / 128);
						HAL_Delay(200);
						__HAL_TIM_SET_COMPARE(&htim1, TIM_CHANNEL_1, 0);
						WS2812_SetAll(0, 0, 0);
						WS2812_Render();

						while (HAL_GPIO_ReadPin(BTN_R_GPIO_Port, BTN_R_Pin)
								== GPIO_PIN_SET) {
							HAL_Delay(10);
						}

						// SNOOZE SLEEP
						set_wakeup_timer_seconds(10);
						HAL_TIM_PWM_Stop(&htim1, TIM_CHANNEL_1);
						HAL_GPIO_WritePin(LED_SW_GPIO_Port, LED_SW_Pin,
								GPIO_PIN_SET);
						HAL_GPIO_WritePin(LPD_GPIO_Port, LPD_Pin, GPIO_PIN_SET);
						HAL_Delay(100);
						HAL_SuspendTick();
						HAL_PWR_EnterSTOPMode(PWR_LOWPOWERREGULATOR_ON,
						PWR_STOPENTRY_WFI);

						SystemClock_Config();
						HAL_ResumeTick();
						HAL_RTCEx_DeactivateWakeUpTimer(&hrtc);
						HAL_GPIO_WritePin(LED_SW_GPIO_Port, LED_SW_Pin,
								GPIO_PIN_RESET);
						HAL_GPIO_WritePin(LPD_GPIO_Port, LPD_Pin,
								GPIO_PIN_RESET);
						snooze_active = 0;
						continue;
					}
				}

				//  PROVJERA SAMO L GUMBA (bez R)
				if (!waiting_for_btnR
						&& HAL_GPIO_ReadPin(BTN_L_GPIO_Port, BTN_L_Pin)
								== GPIO_PIN_SET) {
					static uint32_t last_btnL_solo_time = 0;
					if ((current_time - last_btnL_solo_time) > 50) {
						last_btnL_solo_time = current_time;
						alarm_paused = 1;

						HAL_TIM_PWM_Start(&htim1, TIM_CHANNEL_1);
						__HAL_TIM_SET_COMPARE(&htim1, TIM_CHANNEL_1, 0);
						WS2812_SetAll(30, 0, 0);
						WS2812_Render();

						while (HAL_GPIO_ReadPin(BTN_L_GPIO_Port, BTN_L_Pin)
								== GPIO_PIN_SET) {
							HAL_Delay(10);
						}

						alarm_paused = 0;
						WS2812_SetAll(0, 0, 0);
						WS2812_Render();
					}
				}

				HAL_Delay(10);
			}
		}

		// --- OBRADA GPO (NFC) ---
		if (gpo_state_immediate == 0) {
			HAL_GPIO_WritePin(LPD_GPIO_Port, LPD_Pin, GPIO_PIN_RESET);
			HAL_TIM_PWM_Start(&htim1, TIM_CHANNEL_1);
			HAL_GPIO_WritePin(LED_SW_GPIO_Port, LED_SW_Pin, GPIO_PIN_RESET);
			WS2812_SetAll(50, 0, 50);
			WS2812_Render();
			__HAL_TIM_SET_COMPARE(&htim1, TIM_CHANNEL_1, 32876 / 128);
			HAL_Delay(100);
			WS2812_SetAll(0, 0, 0);
			WS2812_Render();

			for (int brightness = 50; brightness >= 0; brightness -= 2) {
				WS2812_SetAll(brightness, 0, brightness);
				WS2812_Render();
				HAL_Delay(5);
			}

			__HAL_TIM_SET_COMPARE(&htim1, TIM_CHANNEL_1, 0);
			send_casa_to_nfc();
			gpo_prev = 1;

		} else {
			gpo_prev = gpo_state_immediate;
		}

		static uint32_t btnL_press_time = 0;
		static uint8_t waiting_for_btnR = 0;
		static uint8_t btnL_was_pressed = 0;
		static uint8_t btnR_already_processed = 0;

		//  DEBOUNCE
		static uint32_t last_btnL_time = 0;
		uint32_t now = HAL_GetTick();

		if (btn_prev == 1 && BTNL_state_immediate == 1) {
			// provjera je li prošlo dovoljno vremena
			if ((now - last_btnL_time) > 50) {
				btnL_press_time = now;
				waiting_for_btnR = 1;
				btnL_was_pressed = 1;
				btnR_already_processed = 0;  // Reset
				last_btnL_time = now;

				// čekam BTN_R unutar 2 sekunde
				HAL_TIM_PWM_Start(&htim1, TIM_CHANNEL_1);
				HAL_GPIO_WritePin(LED_SW_GPIO_Port, LED_SW_Pin, GPIO_PIN_RESET);

				WS2812_SetAll(40, 40, 0);
				WS2812_Render();
				__HAL_TIM_SET_COMPARE(&htim1, TIM_CHANNEL_1, 32876 / 128);
				HAL_Delay(180);

				for (int brightness = 40; brightness >= 0; brightness -= 2) {
					WS2812_SetAll(brightness, brightness, 0);
					WS2812_Render();
					HAL_Delay(5);
				}

				__HAL_TIM_SET_COMPARE(&htim1, TIM_CHANNEL_1, 0);
				if (waiting_for_btnR) {
					while (waiting_for_btnR) {
						now = HAL_GetTick();

						if ((now - btnL_press_time) > 1000) {
							waiting_for_btnR = 0;

							HAL_TIM_PWM_Start(&htim1, TIM_CHANNEL_1);
							HAL_GPIO_WritePin(LED_SW_GPIO_Port, LED_SW_Pin,
									GPIO_PIN_RESET);

							WS2812_SetAll(50, 0, 0);
							WS2812_Render();
							htim1.Instance->ARR = 21818;  // F#4 (370Hz)
							__HAL_TIM_SET_COMPARE(&htim1, TIM_CHANNEL_1,
									21818 / 128);
							HAL_Delay(180);

							__HAL_TIM_SET_COMPARE(&htim1, TIM_CHANNEL_1, 0);
							HAL_Delay(40);

							htim1.Instance->ARR = 26042;  // A3 (220Hz)
							__HAL_TIM_SET_COMPARE(&htim1, TIM_CHANNEL_1,
									26042 / 128);
							HAL_Delay(80);

							for (int brightness = 50; brightness >= 0;
									brightness -= 2) {
								WS2812_SetAll(brightness, 0, 0);
								WS2812_Render();
								HAL_Delay(5);
							}

							__HAL_TIM_SET_COMPARE(&htim1, TIM_CHANNEL_1, 0);
							break;
						}

						// Provjera je li BTN_R pritisnut
						BTNR_state_immediate = HAL_GPIO_ReadPin(BTN_R_GPIO_Port,
						BTN_R_Pin);

						// DEBOUNCE
						static uint32_t last_btnR_time = 0;
						if (BTNR_state_immediate == 1
								&& (now - last_btnR_time) > 50) {
							last_btnR_time = now;
							waiting_for_btnR = 0;
							btnR_already_processed = 1;

							HAL_TIM_PWM_Start(&htim1, TIM_CHANNEL_1);
							HAL_GPIO_WritePin(LED_SW_GPIO_Port, LED_SW_Pin,
									GPIO_PIN_RESET);

							for (int i = 0; i < NUM_LEDS; i++) {
								WS2812_SetLED(i, 0, 0, 0);
							}
							WS2812_Render();

							// ----------- Faza 1: PALJENJE (od LED 2 do 1) -----------
							for (int idx = 0; idx < NUM_LEDS; idx++) {
								int led = (idx + 2) % NUM_LEDS;  //

								for (int svjetlina = 0; svjetlina <= 50;
										svjetlina += 2) {
									uint32_t musical_notes[] = { 36923, // C3 (130Hz)
											32876,  // D3 (146Hz)
											29268,  // E3 (164Hz)
											27586,  // F3 (174Hz)
											24489,  // G3 (196Hz)
											21818,  // A3 (220Hz)
											19512,  // B3 (246Hz)
											18382   // C4 (261Hz)
											};

									int note_idx = idx;
									if (note_idx < 8) {
										uint32_t arr_value =
												musical_notes[note_idx];
										htim1.Instance->ARR = arr_value;
										__HAL_TIM_SET_COMPARE(&htim1,
												TIM_CHANNEL_1, arr_value / 128);
									}

									WS2812_SetLED(led, 0, svjetlina, 0);

									for (int prev = 0; prev < idx; prev++) {
										int prev_led = (prev + 2) % NUM_LEDS;
										WS2812_SetLED(prev_led, 0, 50, 0);
									}

									WS2812_Render();
									HAL_Delay(1);
								}
							}

							// ----------- Faza 2: GAŠENJE (od LED 2 do 1) -----------
							for (int idx = 0; idx < NUM_LEDS; idx++) {
								int led = (idx + 2) % NUM_LEDS;

								for (int svjetlina = 50; svjetlina >= 0;
										svjetlina -= 2) {
									uint32_t musical_notes_reverse[] = { 18382, // C4 (261Hz)
											19512,  // B3 (246Hz)
											21818,  // A3 (220Hz)
											24489,  // G3 (196Hz)
											27586,  // F3 (174Hz)
											29268,  // E3 (164Hz)
											32876,  // D3 (146Hz)
											36923  // C3 (130Hz)
											};

									int note_idx = idx;
									if (note_idx < 8) {
										uint32_t arr_value =
												musical_notes_reverse[note_idx];
										htim1.Instance->ARR = arr_value;
										__HAL_TIM_SET_COMPARE(&htim1,
												TIM_CHANNEL_1, arr_value / 128);
									}

									WS2812_SetLED(led, 0, svjetlina, 0);

									for (int remaining = idx + 1;
											remaining < NUM_LEDS; remaining++) {
										int remaining_led = (remaining + 2)
												% NUM_LEDS;
										WS2812_SetLED(remaining_led, 0, 50, 0);
									}
									for (int already_off = 0; already_off < idx;
											already_off++) {
										int off_led = (already_off + 2)
												% NUM_LEDS;
										WS2812_SetLED(off_led, 0, 0, 0);
									}

									WS2812_Render();
									HAL_Delay(1);
								}
							}
							__HAL_TIM_SET_COMPARE(&htim1, TIM_CHANNEL_1, 0);

							// INKREMENTACIJA BROJA ČAŠA I DNEVNI BROJ ALARMA
							static uint16_t last_saved_value = 0;
							casa_vode++;

							if (is_day_time()) {
								daily_alarm_count++; // Samo danju se broji u dnevni limit

								// Provjeri je li dostignut limit
								if (daily_alarm_count >= target_leds) {
									stop_wakeup_timer();
								}
							}
							// Noću se samo casa_vode poveća, daily_alarm_count ne

							if (casa_vode != last_saved_value) {
								save_casa_to_flash();
								last_saved_value = casa_vode;
							}
							break;
						}

						HAL_Delay(500);

					}
				}
			}
		}

		// Ako je samo BTN_R pritisnut
		static uint32_t last_btnR_solo_time = 0;
		now = HAL_GetTick();

		if (BTNR_state_immediate == 1 && !btnL_was_pressed
				&& !btnR_already_processed) {
			// DEBOUNCE
			if ((now - last_btnR_solo_time) > 50) {
				last_btnR_solo_time = now;

				HAL_TIM_PWM_Start(&htim1, TIM_CHANNEL_1);
				HAL_GPIO_WritePin(LED_SW_GPIO_Port, LED_SW_Pin, GPIO_PIN_RESET);

				WS2812_SetAll(50, 0, 0);
				WS2812_Render();
				htim1.Instance->ARR = 21818;  // F#4 (370Hz)
				__HAL_TIM_SET_COMPARE(&htim1, TIM_CHANNEL_1, 21818 / 128);
				HAL_Delay(180);

				__HAL_TIM_SET_COMPARE(&htim1, TIM_CHANNEL_1, 0);
				HAL_Delay(40);

				htim1.Instance->ARR = 26042;  // A3 (220Hz)
				__HAL_TIM_SET_COMPARE(&htim1, TIM_CHANNEL_1, 26042 / 128);
				HAL_Delay(80);

				for (int brightness = 50; brightness >= 0; brightness -= 2) {
					WS2812_SetAll(brightness, 0, 0);
					WS2812_Render();
					HAL_Delay(5);
				}

				__HAL_TIM_SET_COMPARE(&htim1, TIM_CHANNEL_1, 0);
			}
		}

		if (!waiting_for_btnR) {
			btnL_was_pressed = 0;
			btnR_already_processed = 0;
		}

		if ((now - last_btnL_time) > 50) {
			btn_prev = BTNL_state_immediate;
		}

		HAL_Delay(5);
		if (rtc_wakeup_flag == 0) {  // Samo ako nismo u RTC alarm sekvenci
			WS2812_SetAll(0, 0, 0);

			// JE LI POPUNJEN SVAKIH 8 LEDICA ZELENOM? (MAX DOSEGNUT)
			if (daily_alarm_count >= NUM_LEDS) {
				HAL_Delay(200);
				// BLINKAJ 2 PUTA ZELENO - MAKSIMUM DOSEGNUT!
				for (int blink = 0; blink < 2; blink++) {
					// Upali sve LEDice zeleno
					for (int i = 0; i < NUM_LEDS; i++) {
						int led = (i + 2) % NUM_LEDS;
						WS2812_SetLED(led, 0, 30, 0);
					}
					WS2812_Render();
					__HAL_TIM_SET_COMPARE(&htim1, TIM_CHANNEL_1, 18382 / 128); // C4 ton
					HAL_Delay(100);
					WS2812_SetAll(0, 0, 0);
					WS2812_Render();
					__HAL_TIM_SET_COMPARE(&htim1, TIM_CHANNEL_1, 0);

					if (blink < 1)
						HAL_Delay(50);
				}
			} else {
				for (int i = 0; i < daily_alarm_count && i < NUM_LEDS; i++) {
					int led = (i + 2) % NUM_LEDS;

					if (max_daily_alarms > 0 && i == max_daily_alarms - 1) {
						// OVO JE CILJNA LED
						WS2812_SetLED(led, 50, 0, 30);  // dostignut cilj
					} else {
						// Normalna zelena LED
						WS2812_SetLED(led, 0, 30, 50);
					}
				}

				// Pokaži maksimum (Tirkizna) - SAMO AKO NIJE DOSTIGNUT
				// Ako je daily_alarm_count < max_daily_alarms, pokaži tirkiznu
				if (max_daily_alarms > 0 && max_daily_alarms <= NUM_LEDS
						&& daily_alarm_count < max_daily_alarms) {
					int max_led = (max_daily_alarms - 1 + 2) % NUM_LEDS;
					WS2812_SetLED(max_led, 0, 30, 50); // Tirkizna = maksimum (još nije dostignut)
				}

				WS2812_Render();
				HAL_Delay(800);
			}
		}

		WS2812_SetAll(0, 0, 0);
		WS2812_Render();
		__HAL_TIM_SET_COMPARE(&htim1, TIM_CHANNEL_1, 0);

		/* USER CODE END WHILE */

	}
}

void SystemClock_Config(void) {
	RCC_OscInitTypeDef RCC_OscInitStruct = { 0 };
	RCC_ClkInitTypeDef RCC_ClkInitStruct = { 0 };

	/** Configure the main internal regulator output voltage
	 */
	HAL_PWREx_ControlVoltageScaling(PWR_REGULATOR_VOLTAGE_SCALE1);

	/** Configure LSE Drive Capability
	 */
	HAL_PWR_EnableBkUpAccess();
	__HAL_RCC_LSEDRIVE_CONFIG(RCC_LSEDRIVE_LOW);

	/** Initializes the RCC Oscillators according to the specified parameters
	 * in the RCC_OscInitTypeDef structure.
	 */
	RCC_OscInitStruct.OscillatorType = RCC_OSCILLATORTYPE_HSI
			| RCC_OSCILLATORTYPE_LSE;
	RCC_OscInitStruct.LSEState = RCC_LSE_ON;
	RCC_OscInitStruct.HSIState = RCC_HSI_ON;
	RCC_OscInitStruct.HSIDiv = RCC_HSI_DIV1;
	RCC_OscInitStruct.HSICalibrationValue = RCC_HSICALIBRATION_DEFAULT;
	RCC_OscInitStruct.PLL.PLLState = RCC_PLL_ON;
	RCC_OscInitStruct.PLL.PLLSource = RCC_PLLSOURCE_HSI;
	RCC_OscInitStruct.PLL.PLLM = RCC_PLLM_DIV1;
	RCC_OscInitStruct.PLL.PLLN = 9;
	RCC_OscInitStruct.PLL.PLLP = RCC_PLLP_DIV2;
	RCC_OscInitStruct.PLL.PLLQ = RCC_PLLQ_DIV5;
	RCC_OscInitStruct.PLL.PLLR = RCC_PLLR_DIV3;
	if (HAL_RCC_OscConfig(&RCC_OscInitStruct) != HAL_OK) {
		Error_Handler();
	}

	/** Initializes the CPU, AHB and APB buses clocks
	 */
	RCC_ClkInitStruct.ClockType = RCC_CLOCKTYPE_HCLK | RCC_CLOCKTYPE_SYSCLK
			| RCC_CLOCKTYPE_PCLK1;
	RCC_ClkInitStruct.SYSCLKSource = RCC_SYSCLKSOURCE_PLLCLK;
	RCC_ClkInitStruct.AHBCLKDivider = RCC_SYSCLK_DIV1;
	RCC_ClkInitStruct.APB1CLKDivider = RCC_HCLK_DIV1;

	if (HAL_RCC_ClockConfig(&RCC_ClkInitStruct, FLASH_LATENCY_1) != HAL_OK) {
		Error_Handler();
	}
}

/**
 * @brief NVIC Configuration.
 * @retval None
 */
static void MX_NVIC_Init(void) {
	/* EXTI0_1_IRQn interrupt configuration */
	HAL_NVIC_SetPriority(EXTI0_1_IRQn, 0, 0);
	HAL_NVIC_EnableIRQ(EXTI0_1_IRQn);
	/* EXTI4_15_IRQn interrupt configuration */
	HAL_NVIC_SetPriority(EXTI4_15_IRQn, 0, 0);
	HAL_NVIC_EnableIRQ(EXTI4_15_IRQn);
	/* RTC_TAMP_IRQn interrupt configuration */
	HAL_NVIC_SetPriority(RTC_TAMP_IRQn, 0, 0);
	HAL_NVIC_EnableIRQ(RTC_TAMP_IRQn);
}

/* USER CODE BEGIN 4 */
//  ALARM A CALLBACK - aktivira se kada je sat = 10 (bilo koja minuta)
void HAL_RTC_AlarmAEventCallback(RTC_HandleTypeDef *hrtc) {

	daily_alarm_count = 0;  // RESET dnevnog brojača!

	rtc_wakeup_flag = 1;  // Označi buđenje
}

//  ALARM B CALLBACK
void HAL_RTCEx_AlarmBEventCallback(RTC_HandleTypeDef *hrtc) {

	stop_wakeup_timer();    // Zaustavi intervale
}

void HAL_RTCEx_WakeUpTimerEventCallback(RTC_HandleTypeDef *hrtc) {
// ----------- INTERVALNI ALARM -----------

// Provjeri je li dan
	if (is_day_time()) {
		rtc_wakeup_flag = 1;
	}
}

/* USER CODE END 4 */

void Error_Handler(void) {
	__disable_irq();
	while (1) {
	}
}
